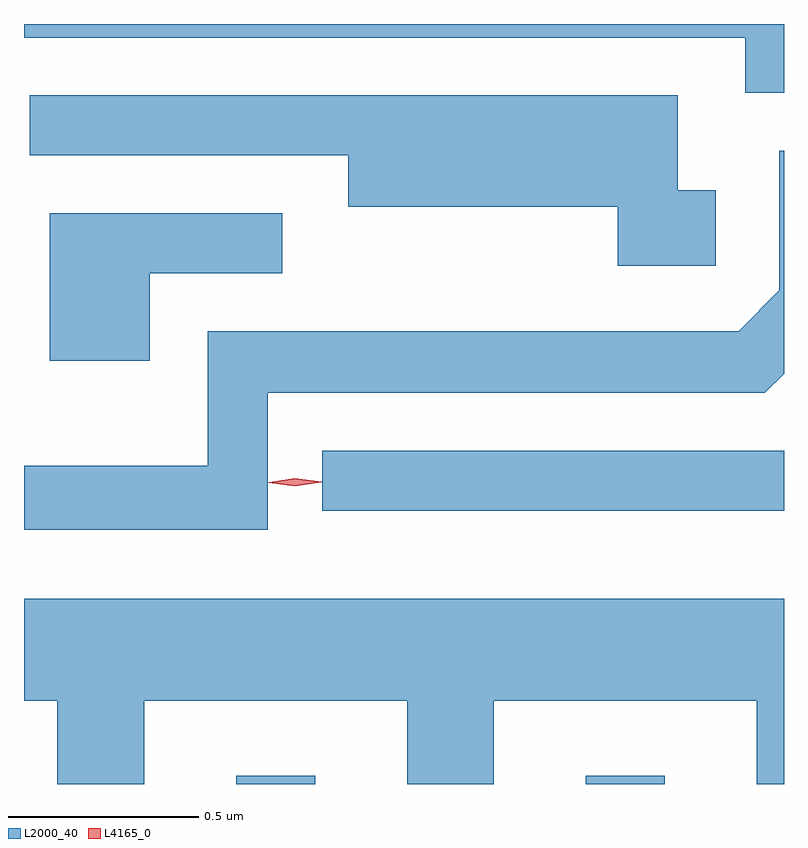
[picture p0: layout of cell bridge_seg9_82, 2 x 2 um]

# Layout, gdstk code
import gdstk
lib = gdstk.Library(unit=1e-6, precision=1e-09)
def R(c, l, rs):  # rectangles x0, y0, x1, y1
    for r in rs: c.add(gdstk.rectangle(r[:2], r[2:], *l))
def P(c, l, *ps):  # polygons
    for p in ps: c.add(gdstk.Polygon(p, *l))
L2000_40 = (2000, 40)
L4165_0 = (4165, 0)

bridge_seg9_82 = lib.new_cell('bridge_seg9_82')
R(bridge_seg9_82, L2000_40, [(1807.111,1989.377,1807.319,1989.399), (1808.031,1989.377,1808.239,1989.399), (1807.338,1990.096,1808.553,1990.254)])
P(bridge_seg9_82, L2000_40, [(1808.553,1991.377),(1806.553,1991.377),(1806.553,1991.341),(1808.451,1991.341),(1808.451,1991.196),(1808.553,1991.196)],
  [(1808.374,1990.939),(1808.274,1990.939),(1808.274,1991.189),(1806.568,1991.189),(1806.568,1991.031),(1807.406,1991.031),(1807.406,1990.896),(1808.116,1990.896),(1808.116,1990.741),(1808.374,1990.741)],
  [(1807.194,1990.406),(1808.502,1990.406),(1808.553,1990.457),(1808.553,1991.044),(1808.541,1991.044),(1808.541,1990.677),(1808.434,1990.569),(1807.036,1990.569),(1807.036,1990.214),(1806.553,1990.214),(1806.553,1990.046),(1807.194,1990.046)],
  [(1806.884,1990.721),(1807.233,1990.721),(1807.233,1990.879),(1806.621,1990.879),(1806.621,1990.491),(1806.884,1990.491)],
  [(1806.869,1989.596),(1807.561,1989.596),(1807.561,1989.377),(1807.789,1989.377),(1807.789,1989.596),(1808.481,1989.596),(1808.481,1989.377),(1808.553,1989.377),(1808.553,1989.864),(1806.553,1989.864),(1806.553,1989.596),(1806.641,1989.596),(1806.641,1989.377),(1806.869,1989.377)])
P(bridge_seg9_82, L4165_0, [(1807.266,1990.161),(1807.197,1990.17),(1807.197,1990.171),(1807.197,1990.171),(1807.266,1990.181),(1807.336,1990.172),(1807.336,1990.171),(1807.336,1990.171)])

lib.write_gds('bridge_seg9_82.gds')
